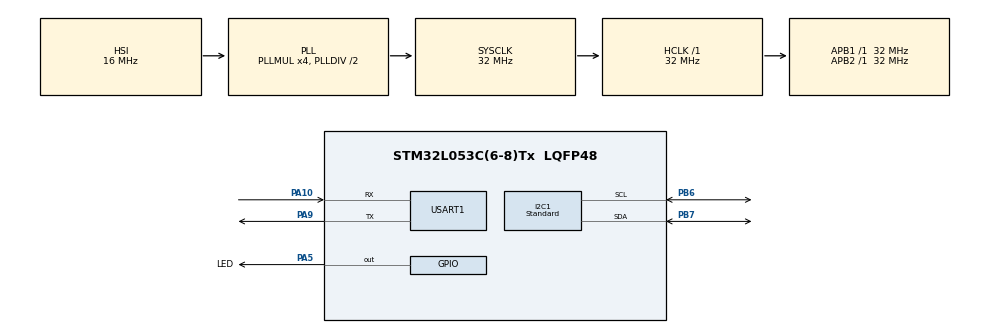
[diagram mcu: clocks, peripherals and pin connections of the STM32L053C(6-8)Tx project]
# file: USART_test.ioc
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I2C1.I2C_Speed_Mode=I2C_Standard
I2C1.Timing=0x00707CBB
Mcu.Family=STM32L0
Mcu.Name=STM32L053C(6-8)Tx
Mcu.Package=LQFP48
NVIC.USART1_IRQn=true\:0\:0\:false\:false\:true\:true\:true\:true
PA10.Mode=Asynchronous
PA10.Signal=USART1_RX
PA5.GPIO_Label=LED
PA5.Signal=GPIO_Output
PA9.Mode=Asynchronous
PA9.Signal=USART1_TX
PB6.Mode=I2C
PB6.Signal=I2C1_SCL
PB7.Mode=I2C
PB7.Signal=I2C1_SDA
PH0-OSC_IN.Mode=HSE-External-Oscillator
PH0-OSC_IN.Signal=RCC_OSC_IN
PH1-OSC_OUT.Mode=HSE-External-Oscillator
PH1-OSC_OUT.Signal=RCC_OSC_OUT
ProjectManager.HeapSize=0x200
ProjectManager.StackSize=0x400
ProjectManager.TargetToolchain=STM32CubeIDE
RCC.AHBFreq_Value=32000000
RCC.APB1Freq_Value=32000000
RCC.APB1TimFreq_Value=32000000
RCC.APB2Freq_Value=32000000
RCC.APB2TimFreq_Value=32000000
RCC.HCLKFreq_Value=32000000
RCC.HSE_VALUE=8000000
RCC.HSI16_VALUE=16000000
RCC.HSI48MClockSelection=RCC_USBCLKSOURCE_HSI48
RCC.HSI48_VALUE=48000000
RCC.HSI_VALUE=16000000
RCC.LSE_VALUE=32768
RCC.MSI_VALUE=2097000
RCC.PLLMUL=RCC_PLLMUL_4
RCC.RTCClockSelectionVirtual=RCC_RTCCLKSOURCE_LSE
RCC.SYSCLKFreq_VALUE=32000000
RCC.SYSCLKSource=RCC_SYSCLKSOURCE_PLLCLK
RCC.VCOOutputFreq_Value=64000000
USART1.VirtualMode-Asynchronous=VM_ASYNC
board=STM32L0538-DISCO

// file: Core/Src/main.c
/* USER CODE BEGIN Header */
/**
  ******************************************************************************
  * @file           : main.c
  * @brief          : Main program body
  ******************************************************************************
  * @attention
  *
  * Copyright (c) 2024 STMicroelectronics.
  * All rights reserved.
  *
  * This software is licensed under terms that can be found in the LICENSE file
  * in the root directory of this software component.
  * If no LICENSE file comes with this software, it is provided AS-IS.
  *
  ******************************************************************************
  */
/* USER CODE END Header */
#include "main.h"

/* USER CODE BEGIN Includes */
#include "fonts.h"
#include "ssd1306.h"
#include "test.h"
#include "string.h"
/* USER CODE END Includes */

/* USER CODE BEGIN PM */
uint8_t buffer[10]; // obszar pamieci o ulotnej zawartosci
int flaga = 0;
int end_message = 0;
/* USER CODE END PM */

I2C_HandleTypeDef hi2c1;

UART_HandleTypeDef huart1;

void SystemClock_Config(void);
static void MX_GPIO_Init(void);
static void MX_USART1_UART_Init(void);
static void MX_I2C1_Init(void);

/* USER CODE BEGIN 0 */
void read_message();
uint8_t data_for_display[8];
uint8_t znak, komunikat[20];
uint16_t dlugosc = 4;
/* USER CODE END 0 */

int main(void)
{

  /* MCU Configuration--------------------------------------------------------*/

  /* Reset of all peripherals, Initializes the Flash interface and the Systick. */
  HAL_Init();

  /* Configure the system clock */
  SystemClock_Config();

  /* Initialize all configured peripherals */
  MX_GPIO_Init();
  MX_USART1_UART_Init();
  MX_I2C1_Init();
  /* USER CODE BEGIN 2 */
  SSD1306_Init();
  SSD1306_Init();  // Initialise OLED
  SSD1306_GotoXY (0,0);

  HAL_UART_Receive_IT(&huart1, buffer, sizeof(buffer));
 // HAL_UART_Receive_IT(&huart1, (uint8_t *)buffer, sizeof(buffer));
  //HAL_UART_Receive_IT(&huart1, &znak, 1);
  /* USER CODE END 2 */

  /* Infinite loop */
  while (1)
  {

    /* USER CODE BEGIN 3 */
	  if (flaga == 1)
	  {
	  SSD1306_Clear();
	  HAL_Delay(10);
	  SSD1306_GotoXY(0, 0);
	  HAL_Delay(10);
	  buffer[sizeof(buffer)] = ' ';
	  SSD1306_Puts((char*)buffer, &Font_11x18, 1);

	  HAL_Delay(10);
	  SSD1306_UpdateScreen(); // Display
	//  memset(buffer, ' ' , sizeof(buffer));
	  SSD1306_Clear();
	  SSD1306_GotoXY(0, 0);
	  SSD1306_Puts ((char*)buffer, &Font_11x18, 1);
	  HAL_Delay(10);
	  SSD1306_UpdateScreen(); // Display
	  memset(buffer, 0 , sizeof(data_for_display));
	  HAL_GPIO_WritePin(LED_GPIO_Port, LED_Pin, GPIO_PIN_RESET);
	  HAL_Delay(1000);
	  flaga = 0;
//	  }
	  }

  }
  /* USER CODE END 3 */
}

void SystemClock_Config(void)
{
  RCC_OscInitTypeDef RCC_OscInitStruct = {0};
  RCC_ClkInitTypeDef RCC_ClkInitStruct = {0};
  RCC_PeriphCLKInitTypeDef PeriphClkInit = {0};

  /** Configure the main internal regulator output voltage
  */
  __HAL_PWR_VOLTAGESCALING_CONFIG(PWR_REGULATOR_VOLTAGE_SCALE1);

  /** Initializes the RCC Oscillators according to the specified parameters
  * in the RCC_OscInitTypeDef structure.
  */
  RCC_OscInitStruct.OscillatorType = RCC_OSCILLATORTYPE_HSI;
  RCC_OscInitStruct.HSIState = RCC_HSI_ON;
  RCC_OscInitStruct.HSICalibrationValue = RCC_HSICALIBRATION_DEFAULT;
  RCC_OscInitStruct.PLL.PLLState = RCC_PLL_ON;
  RCC_OscInitStruct.PLL.PLLSource = RCC_PLLSOURCE_HSI;
  RCC_OscInitStruct.PLL.PLLMUL = RCC_PLLMUL_4;
  RCC_OscInitStruct.PLL.PLLDIV = RCC_PLLDIV_2;
  if (HAL_RCC_OscConfig(&RCC_OscInitStruct) != HAL_OK)
  {
    Error_Handler();
  }

  /** Initializes the CPU, AHB and APB buses clocks
  */
  RCC_ClkInitStruct.ClockType = RCC_CLOCKTYPE_HCLK|RCC_CLOCKTYPE_SYSCLK
                              |RCC_CLOCKTYPE_PCLK1|RCC_CLOCKTYPE_PCLK2;
  RCC_ClkInitStruct.SYSCLKSource = RCC_SYSCLKSOURCE_PLLCLK;
  RCC_ClkInitStruct.AHBCLKDivider = RCC_SYSCLK_DIV1;
  RCC_ClkInitStruct.APB1CLKDivider = RCC_HCLK_DIV1;
  RCC_ClkInitStruct.APB2CLKDivider = RCC_HCLK_DIV1;

  if (HAL_RCC_ClockConfig(&RCC_ClkInitStruct, FLASH_LATENCY_1) != HAL_OK)
  {
    Error_Handler();
  }
  PeriphClkInit.PeriphClockSelection = RCC_PERIPHCLK_USART1|RCC_PERIPHCLK_I2C1;
  PeriphClkInit.Usart1ClockSelection = RCC_USART1CLKSOURCE_PCLK2;
  PeriphClkInit.I2c1ClockSelection = RCC_I2C1CLKSOURCE_PCLK1;
  if (HAL_RCCEx_PeriphCLKConfig(&PeriphClkInit) != HAL_OK)
  {
    Error_Handler();
  }
}

static void MX_I2C1_Init(void)
{

  hi2c1.Instance = I2C1;
  hi2c1.Init.Timing = 0x00707CBB;
  hi2c1.Init.OwnAddress1 = 0;
  hi2c1.Init.AddressingMode = I2C_ADDRESSINGMODE_7BIT;
  hi2c1.Init.DualAddressMode = I2C_DUALADDRESS_DISABLE;
  hi2c1.Init.OwnAddress2 = 0;
  hi2c1.Init.OwnAddress2Masks = I2C_OA2_NOMASK;
  hi2c1.Init.GeneralCallMode = I2C_GENERALCALL_DISABLE;
  hi2c1.Init.NoStretchMode = I2C_NOSTRETCH_DISABLE;
  if (HAL_I2C_Init(&hi2c1) != HAL_OK)
  {
    Error_Handler();
  }

  /** Configure Analogue filter
  */
  if (HAL_I2CEx_ConfigAnalogFilter(&hi2c1, I2C_ANALOGFILTER_ENABLE) != HAL_OK)
  {
    Error_Handler();
  }

  /** Configure Digital filter
  */
  if (HAL_I2CEx_ConfigDigitalFilter(&hi2c1, 0) != HAL_OK)
  {
    Error_Handler();
  }

}

static void MX_USART1_UART_Init(void)
{

  huart1.Instance = USART1;
  huart1.Init.BaudRate = 115200;
  huart1.Init.WordLength = UART_WORDLENGTH_8B;
  huart1.Init.StopBits = UART_STOPBITS_1;
  huart1.Init.Parity = UART_PARITY_NONE;
  huart1.Init.Mode = UART_MODE_TX_RX;
  huart1.Init.HwFlowCtl = UART_HWCONTROL_NONE;
  huart1.Init.OverSampling = UART_OVERSAMPLING_16;
  huart1.Init.OneBitSampling = UART_ONE_BIT_SAMPLE_DISABLE;
  huart1.AdvancedInit.AdvFeatureInit = UART_ADVFEATURE_NO_INIT;
  if (HAL_UART_Init(&huart1) != HAL_OK)
  {
    Error_Handler();
  }

}

static void MX_GPIO_Init(void)
{
  GPIO_InitTypeDef GPIO_InitStruct = {0};

  /* GPIO Ports Clock Enable */
  __HAL_RCC_GPIOH_CLK_ENABLE();
  __HAL_RCC_GPIOA_CLK_ENABLE();
  __HAL_RCC_GPIOB_CLK_ENABLE();

  /*Configure GPIO pin Output Level */
  HAL_GPIO_WritePin(LED_GPIO_Port, LED_Pin, GPIO_PIN_RESET);

  /*Configure GPIO pin : LED_Pin */
  GPIO_InitStruct.Pin = LED_Pin;
  GPIO_InitStruct.Mode = GPIO_MODE_OUTPUT_PP;
  GPIO_InitStruct.Pull = GPIO_NOPULL;
  GPIO_InitStruct.Speed = GPIO_SPEED_FREQ_LOW;
  HAL_GPIO_Init(LED_GPIO_Port, &GPIO_InitStruct);

}

/* USER CODE BEGIN 4 */
void HAL_UART_RxCpltCallback(UART_HandleTypeDef *huart)
{
	if(huart->Instance == USART1)
		{
			HAL_GPIO_WritePin(LED_GPIO_Port, LED_Pin, GPIO_PIN_SET);
            flaga = 1;
            HAL_UART_Receive_IT(&huart1, buffer, sizeof(buffer));

		}
}

/*
void read_message()
{
	for (int i = 0; i < sizeof(buffer); i++)
	{
		switch(buffer[i])
		{
		case '[': // poczatek wiadomosci
			for(int j = i; j < sizeof(buffer); j++) //
			{
				if(buffer[j] == ']')
				{
					data_for_display[j-i-1] = ' ';
					end_message = 1;
					break;
				}
				else
				{
					data_for_display[j-i] = buffer[j+1];
				}
			}
			break;
		}
	}
}
*/
/* USER CODE END 4 */

void Error_Handler(void)
{
  __disable_irq();
  while (1)
  {
  }
}
